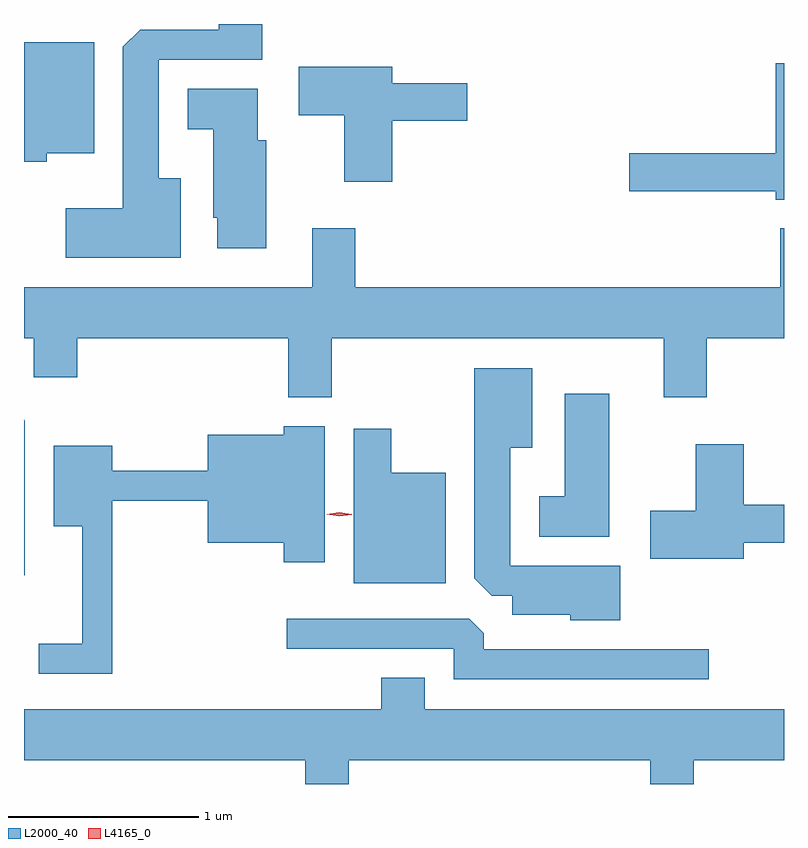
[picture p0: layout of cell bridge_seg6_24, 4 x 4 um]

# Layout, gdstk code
import gdstk
lib = gdstk.Library(unit=1e-6, precision=1e-09)
def P(c, l, *ps):  # polygons
    for p in ps: c.add(gdstk.Polygon(p, *l))
L2000_40 = (2000, 40)
L4165_0 = (4165, 0)

bridge_seg6_24 = lib.new_cell('bridge_seg6_24')
P(bridge_seg6_24, L2000_40, [(1806.124,1661.879),(1806.009,1661.879),(1806.009,1662.501),(1806.554,1662.501),(1806.554,1662.69),(1806.326,1662.69),(1806.326,1662.659),(1805.912,1662.659),(1805.821,1662.569),(1805.821,1661.719),(1805.521,1661.719),(1805.521,1661.461),(1806.124,1661.461)],
  [(1805.419,1662.011),(1805.669,1662.011),(1805.669,1662.594),(1805.3,1662.594),(1805.3,1661.966),(1805.419,1661.966)],
  [(1809.3,1662.484),(1809.256,1662.484),(1809.256,1662.009),(1808.486,1662.009),(1808.486,1661.811),(1809.256,1661.811),(1809.256,1661.766),(1809.3,1661.766)],
  [(1807.239,1662.181),(1807.634,1662.181),(1807.634,1662.379),(1807.239,1662.379),(1807.239,1662.464),(1806.746,1662.464),(1806.746,1662.211),(1806.986,1662.211),(1806.986,1661.861),(1807.239,1661.861)],
  [(1806.574,1662.079),(1806.529,1662.079),(1806.529,1662.349),(1806.161,1662.349),(1806.161,1662.136),(1806.296,1662.136),(1806.296,1661.671),(1806.316,1661.671),(1806.316,1661.511),(1806.574,1661.511)],
  [(1806.919,1661.036),(1808.666,1661.036),(1808.666,1660.726),(1808.894,1660.726),(1808.894,1661.036),(1809.3,1661.036),(1809.3,1661.614),(1809.281,1661.614),(1809.281,1661.304),(1807.044,1661.304),(1807.044,1661.614),(1806.816,1661.614),(1806.816,1661.304),(1805.3,1661.304),(1805.3,1661.036),(1805.351,1661.036),(1805.351,1660.831),(1805.579,1660.831),(1805.579,1661.036),(1806.691,1661.036),(1806.691,1660.726),(1806.919,1660.726)],
  [(1808.439,1659.839),(1807.859,1659.839),(1807.859,1660.461),(1807.974,1660.461),(1807.974,1660.879),(1807.671,1660.879),(1807.671,1659.772),(1807.762,1659.681),(1807.871,1659.681),(1807.871,1659.581),(1808.176,1659.581),(1808.176,1659.551),(1808.439,1659.551)],
  [(1808.379,1660.744),(1808.146,1660.744),(1808.146,1660.204),(1808.011,1660.204),(1808.011,1659.991),(1808.379,1659.991)],
  [(1805.304,1660.602),(1805.3,1660.606),(1805.3,1659.788),(1805.304,1659.788)],
  [(1805.764,1660.181),(1806.266,1660.181),(1806.266,1659.961),(1806.666,1659.961),(1806.666,1659.856),(1806.884,1659.856),(1806.884,1660.574),(1806.666,1660.574),(1806.666,1660.529),(1806.266,1660.529),(1806.266,1660.339),(1805.764,1660.339),(1805.764,1660.469),(1805.456,1660.469),(1805.456,1660.046),(1805.606,1660.046),(1805.606,1659.429),(1805.378,1659.429),(1805.378,1659.271),(1805.764,1659.271)],
  [(1807.519,1660.329),(1807.234,1660.329),(1807.234,1660.559),(1807.036,1660.559),(1807.036,1659.746),(1807.519,1659.746)],
  [(1809.089,1659.961),(1809.3,1659.961),(1809.3,1660.159),(1809.089,1660.159),(1809.089,1660.479),(1808.836,1660.479),(1808.836,1660.129),(1808.596,1660.129),(1808.596,1659.876),(1809.089,1659.876)],
  [(1808.903,1659.399),(1807.719,1659.399),(1807.719,1659.484),(1807.644,1659.559),(1806.683,1659.559),(1806.683,1659.401),(1807.561,1659.401),(1807.561,1659.241),(1808.903,1659.241)],
  [(1807.009,1658.816),(1808.596,1658.816),(1808.596,1658.69),(1808.824,1658.69),(1808.824,1658.816),(1809.3,1658.816),(1809.3,1659.084),(1807.409,1659.084),(1807.409,1659.249),(1807.181,1659.249),(1807.181,1659.084),(1805.3,1659.084),(1805.3,1658.816),(1806.781,1658.816),(1806.781,1658.69),(1807.009,1658.69)])
P(bridge_seg6_24, L4165_0, [(1806.959,1660.1),(1806.894,1660.11),(1806.893,1660.11),(1806.894,1660.111),(1806.96,1660.119),(1807.026,1660.109),(1807.026,1660.109),(1807.026,1660.108)])

lib.write_gds('bridge_seg6_24.gds')
